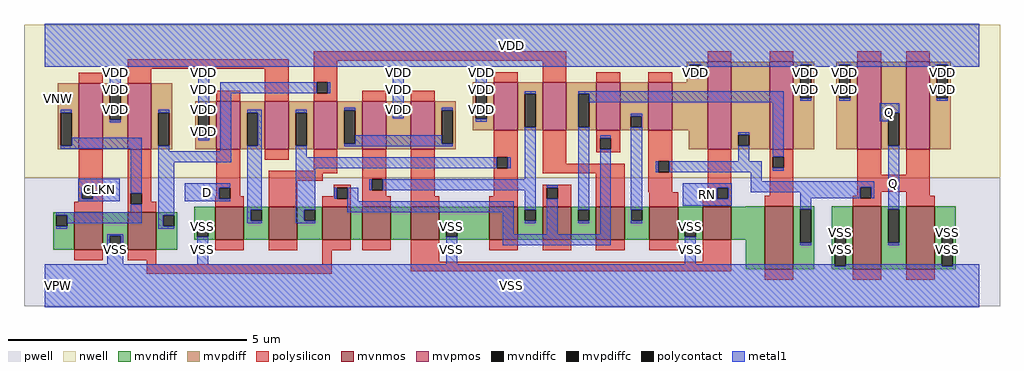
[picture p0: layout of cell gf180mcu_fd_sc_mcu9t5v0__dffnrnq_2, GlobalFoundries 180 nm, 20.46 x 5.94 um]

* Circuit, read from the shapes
.subckt gf180mcu_fd_sc_mcu9t5v0__dffnrnq_2 D RN CLKN Q VDD VNW VPW VSS
XM1 VSS CLKN n1 VPW nfet_06v0 w=0.79u l=0.6u
XM2 n2 n1 VSS VPW nfet_06v0 w=0.79u l=0.6u
XM3 n3 D VSS VPW nfet_06v0 w=0.7u l=0.6u
XM4 n4 n2 n3 VPW nfet_06v0 w=0.7u l=0.6u
XM5 n5 n1 n4 VPW nfet_06v0 w=0.7u l=0.6u
XM6 n6 n7 n5 VPW nfet_06v0 w=0.7u l=0.6u
XM7 VSS RN n6 VPW nfet_06v0 w=0.7u l=0.6u
XM8 n7 n4 VSS VPW nfet_06v0 w=0.7u l=0.6u
XM9 n8 n1 n7 VPW nfet_06v0 w=0.7u l=0.6u
XM10 n9 n2 n8 VPW nfet_06v0 w=0.7u l=0.6u
XM11 VSS n10 n9 VPW nfet_06v0 w=0.7u l=0.6u
XM12 n11 RN VSS VPW nfet_06v0 w=0.7u l=0.6u
XM13 n10 n8 n11 VPW nfet_06v0 w=1.32u l=0.6u
XM14 Q n10 VSS VPW nfet_06v0 w=1.32u l=0.6u m=2
XM15 VDD CLKN n1 VNW pfet_06v0 w=1.38u l=0.5u
XM16 n2 n1 VDD VNW pfet_06v0 w=1.38u l=0.5u
XM17 n3 D VDD VNW pfet_06v0 w=1u l=0.5u
XM18 n4 n1 n3 VNW pfet_06v0 w=1u l=0.5u
XM19 n12 n2 n4 VNW pfet_06v0 w=1u l=0.5u
XM20 VDD n7 n12 VNW pfet_06v0 w=1u l=0.5u
XM21 n12 RN VDD VNW pfet_06v0 w=1u l=0.5u
XM22 n7 n4 VDD VNW pfet_06v0 w=1u l=0.5u
XM23 n8 n2 n7 VNW pfet_06v0 w=1u l=0.5u
XM24 n9 n1 n8 VNW pfet_06v0 w=1u l=0.5u
XM25 VDD n10 n9 VNW pfet_06v0 w=1u l=0.5u
XM26 n10 RN VDD VNW pfet_06v0 w=1.83u l=0.5u
XM27 VDD n8 n10 VNW pfet_06v0 w=1.83u l=0.5u
XM28 Q n10 VDD VNW pfet_06v0 w=1.83u l=0.5u m=2
.ends

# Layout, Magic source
magic
tech gf180mcuD
magscale 1 10
<< nwell >>
rect -86 453 4006 1094
<< pwell >>
rect -86 -86 4006 453
<< mvnmos >>
rect 124 150 244 308
rect 348 150 468 308
rect 716 192 836 332
rect 940 192 1060 332
rect 1164 192 1284 332
rect 1332 192 1452 332
rect 1536 192 1656 332
rect 1864 192 1984 332
rect 2088 192 2208 332
rect 2312 192 2432 332
rect 2536 192 2656 332
rect 2760 192 2880 332
rect 3020 69 3140 333
rect 3388 69 3508 333
rect 3612 69 3732 333
<< mvpmos >>
rect 144 573 244 849
rect 348 573 448 849
rect 720 573 820 773
rect 924 573 1024 773
rect 1128 573 1228 773
rect 1332 573 1432 773
rect 1536 573 1636 773
rect 1884 652 1984 852
rect 2088 652 2188 852
rect 2313 652 2413 852
rect 2532 652 2632 852
rect 2780 573 2880 939
rect 3040 573 3140 939
rect 3408 573 3508 939
rect 3612 573 3712 939
<< mvndiff >>
rect 2940 332 3020 333
rect 36 295 124 308
rect 36 249 49 295
rect 95 249 124 295
rect 36 150 124 249
rect 244 209 348 308
rect 244 163 273 209
rect 319 163 348 209
rect 244 150 348 163
rect 468 295 556 308
rect 468 249 497 295
rect 543 249 556 295
rect 468 150 556 249
rect 628 251 716 332
rect 628 205 641 251
rect 687 205 716 251
rect 628 192 716 205
rect 836 319 940 332
rect 836 273 865 319
rect 911 273 940 319
rect 836 192 940 273
rect 1060 319 1164 332
rect 1060 273 1089 319
rect 1135 273 1164 319
rect 1060 192 1164 273
rect 1284 192 1332 332
rect 1452 192 1536 332
rect 1656 251 1864 332
rect 1656 205 1685 251
rect 1731 205 1864 251
rect 1656 192 1864 205
rect 1984 319 2088 332
rect 1984 273 2013 319
rect 2059 273 2088 319
rect 1984 192 2088 273
rect 2208 319 2312 332
rect 2208 273 2237 319
rect 2283 273 2312 319
rect 2208 192 2312 273
rect 2432 319 2536 332
rect 2432 273 2461 319
rect 2507 273 2536 319
rect 2432 192 2536 273
rect 2656 251 2760 332
rect 2656 205 2685 251
rect 2731 205 2760 251
rect 2656 192 2760 205
rect 2880 192 3020 332
rect 2940 69 3020 192
rect 3140 320 3228 333
rect 3140 180 3169 320
rect 3215 180 3228 320
rect 3140 69 3228 180
rect 3300 222 3388 333
rect 3300 82 3313 222
rect 3359 82 3388 222
rect 3300 69 3388 82
rect 3508 320 3612 333
rect 3508 180 3537 320
rect 3583 180 3612 320
rect 3508 69 3612 180
rect 3732 222 3820 333
rect 3732 82 3761 222
rect 3807 82 3820 222
rect 3732 69 3820 82
<< mvpdiff >>
rect 56 726 144 849
rect 56 586 69 726
rect 115 586 144 726
rect 56 573 144 586
rect 244 836 348 849
rect 244 696 273 836
rect 319 696 348 836
rect 244 573 348 696
rect 448 726 536 849
rect 2692 926 2780 939
rect 2692 880 2705 926
rect 2751 880 2780 926
rect 2692 852 2780 880
rect 1796 839 1884 852
rect 448 586 477 726
rect 523 586 536 726
rect 448 573 536 586
rect 632 760 720 773
rect 632 620 645 760
rect 691 620 720 760
rect 632 573 720 620
rect 820 726 924 773
rect 820 586 849 726
rect 895 586 924 726
rect 820 573 924 586
rect 1024 726 1128 773
rect 1024 586 1053 726
rect 1099 586 1128 726
rect 1024 573 1128 586
rect 1228 735 1332 773
rect 1228 595 1257 735
rect 1303 595 1332 735
rect 1228 573 1332 595
rect 1432 760 1536 773
rect 1432 714 1461 760
rect 1507 714 1536 760
rect 1432 573 1536 714
rect 1636 735 1724 773
rect 1636 595 1665 735
rect 1711 595 1724 735
rect 1796 699 1809 839
rect 1855 699 1884 839
rect 1796 652 1884 699
rect 1984 805 2088 852
rect 1984 665 2013 805
rect 2059 665 2088 805
rect 1984 652 2088 665
rect 2188 805 2313 852
rect 2188 665 2238 805
rect 2284 665 2313 805
rect 2188 652 2313 665
rect 2413 711 2532 852
rect 2413 665 2457 711
rect 2503 665 2532 711
rect 2413 652 2532 665
rect 2632 652 2780 852
rect 1636 573 1724 595
rect 2700 573 2780 652
rect 2880 632 3040 939
rect 2880 586 2909 632
rect 2955 586 3040 632
rect 2880 573 3040 586
rect 3140 926 3228 939
rect 3140 786 3169 926
rect 3215 786 3228 926
rect 3140 573 3228 786
rect 3320 926 3408 939
rect 3320 786 3333 926
rect 3379 786 3408 926
rect 3320 573 3408 786
rect 3508 726 3612 939
rect 3508 586 3537 726
rect 3583 586 3612 726
rect 3508 573 3612 586
rect 3712 926 3800 939
rect 3712 786 3741 926
rect 3787 786 3800 926
rect 3712 573 3800 786
<< mvndiffc >>
rect 49 249 95 295
rect 273 163 319 209
rect 497 249 543 295
rect 641 205 687 251
rect 865 273 911 319
rect 1089 273 1135 319
rect 1685 205 1731 251
rect 2013 273 2059 319
rect 2237 273 2283 319
rect 2461 273 2507 319
rect 2685 205 2731 251
rect 3169 180 3215 320
rect 3313 82 3359 222
rect 3537 180 3583 320
rect 3761 82 3807 222
<< mvpdiffc >>
rect 69 586 115 726
rect 273 696 319 836
rect 2705 880 2751 926
rect 477 586 523 726
rect 645 620 691 760
rect 849 586 895 726
rect 1053 586 1099 726
rect 1257 595 1303 735
rect 1461 714 1507 760
rect 1665 595 1711 735
rect 1809 699 1855 839
rect 2013 665 2059 805
rect 2238 665 2284 805
rect 2457 665 2503 711
rect 2909 586 2955 632
rect 3169 786 3215 926
rect 3333 786 3379 926
rect 3537 586 3583 726
rect 3741 786 3787 926
<< polysilicon >>
rect 348 909 1024 949
rect 144 849 244 893
rect 348 849 448 909
rect 720 773 820 817
rect 924 773 1024 909
rect 1129 944 2188 984
rect 1129 865 1228 944
rect 1128 852 1228 865
rect 1884 852 1984 896
rect 2088 852 2188 944
rect 2780 939 2880 983
rect 3040 939 3140 983
rect 3408 939 3508 983
rect 3612 939 3712 983
rect 2313 852 2413 896
rect 2532 852 2632 896
rect 1128 806 1141 852
rect 1187 806 1228 852
rect 1128 773 1228 806
rect 1332 773 1432 817
rect 1536 773 1636 817
rect 144 411 244 573
rect 144 365 157 411
rect 203 365 244 411
rect 144 352 244 365
rect 124 308 244 352
rect 348 387 448 573
rect 348 341 361 387
rect 407 352 448 387
rect 720 411 820 573
rect 924 529 1024 573
rect 1128 481 1228 573
rect 720 376 733 411
rect 716 365 733 376
rect 779 376 820 411
rect 940 472 1228 481
rect 940 441 1167 472
rect 1332 446 1432 573
rect 779 365 836 376
rect 407 341 468 352
rect 348 308 468 341
rect 716 332 836 365
rect 940 332 1060 441
rect 1212 411 1284 424
rect 1212 376 1225 411
rect 1164 365 1225 376
rect 1271 365 1284 411
rect 1164 332 1284 365
rect 1332 400 1373 446
rect 1419 400 1432 446
rect 1332 376 1432 400
rect 1536 376 1636 573
rect 1884 538 1984 652
rect 1884 492 1897 538
rect 1943 492 1984 538
rect 1884 376 1984 492
rect 2088 512 2188 652
rect 2313 619 2413 652
rect 2313 573 2329 619
rect 2375 573 2413 619
rect 2313 560 2413 573
rect 2532 522 2632 652
rect 2088 472 2432 512
rect 1332 332 1452 376
rect 1536 332 1656 376
rect 1864 332 1984 376
rect 2088 411 2208 424
rect 2088 365 2105 411
rect 2151 365 2208 411
rect 2088 332 2208 365
rect 2312 332 2432 472
rect 2532 476 2573 522
rect 2619 476 2632 522
rect 2532 392 2632 476
rect 2780 411 2880 573
rect 2536 332 2656 392
rect 2780 376 2821 411
rect 2760 365 2821 376
rect 2867 365 2880 411
rect 3040 540 3140 573
rect 3040 494 3053 540
rect 3099 494 3140 540
rect 3040 377 3140 494
rect 3408 465 3508 573
rect 3612 465 3712 573
rect 3408 412 3712 465
rect 3408 377 3421 412
rect 2760 332 2880 365
rect 3020 333 3140 377
rect 3388 366 3421 377
rect 3467 393 3712 412
rect 3467 366 3508 393
rect 3388 333 3508 366
rect 3612 377 3712 393
rect 3612 333 3732 377
rect 124 106 244 150
rect 348 106 468 150
rect 716 148 836 192
rect 940 148 1060 192
rect 1164 148 1284 192
rect 1332 148 1452 192
rect 428 90 468 106
rect 1164 90 1204 148
rect 428 50 1204 90
rect 1536 100 1656 192
rect 1864 148 1984 192
rect 2088 148 2208 192
rect 2312 148 2432 192
rect 2536 148 2656 192
rect 2760 100 2880 192
rect 1536 60 2880 100
rect 3020 25 3140 69
rect 3388 25 3508 69
rect 3612 25 3732 69
<< polycontact >>
rect 1141 806 1187 852
rect 157 365 203 411
rect 361 341 407 387
rect 733 365 779 411
rect 1225 365 1271 411
rect 1373 400 1419 446
rect 1897 492 1943 538
rect 2329 573 2375 619
rect 2105 365 2151 411
rect 2573 476 2619 522
rect 2821 365 2867 411
rect 3053 494 3099 540
rect 3421 366 3467 412
<< metal1 >>
rect 0 926 3920 1098
rect 0 918 2705 926
rect 273 836 319 918
rect 69 726 115 737
rect 645 760 691 918
rect 273 685 319 696
rect 477 726 523 737
rect 115 586 407 621
rect 69 575 407 586
rect 142 411 315 449
rect 142 365 157 411
rect 203 365 315 411
rect 142 354 315 365
rect 361 387 407 575
rect 361 308 407 341
rect 49 295 407 308
rect 95 262 407 295
rect 645 609 691 620
rect 737 806 1141 852
rect 1187 806 1198 852
rect 477 563 523 586
rect 737 563 783 806
rect 1461 760 1507 918
rect 477 517 783 563
rect 849 726 911 737
rect 895 586 911 726
rect 477 295 543 517
rect 589 411 779 430
rect 589 365 733 411
rect 589 354 779 365
rect 49 238 95 249
rect 477 249 497 295
rect 849 319 911 586
rect 849 273 865 319
rect 849 262 911 273
rect 1053 726 1099 737
rect 1053 538 1099 586
rect 1257 735 1303 746
rect 1809 839 1855 918
rect 2751 918 3169 926
rect 2705 869 2751 880
rect 1461 703 1507 714
rect 1665 735 1711 746
rect 1303 595 1665 630
rect 1809 688 1855 699
rect 2013 805 2059 816
rect 1257 584 1711 595
rect 1053 492 1897 538
rect 1943 492 1954 538
rect 1053 319 1135 492
rect 2013 446 2059 665
rect 1214 365 1225 411
rect 1271 365 1316 411
rect 1362 400 1373 446
rect 1419 400 2059 446
rect 2237 805 3099 816
rect 2237 665 2238 805
rect 2284 770 3099 805
rect 3215 918 3333 926
rect 3169 775 3215 786
rect 3379 918 3741 926
rect 3333 775 3379 786
rect 3787 918 3920 926
rect 3741 775 3787 786
rect 2237 654 2284 665
rect 2457 711 2507 722
rect 2503 665 2507 711
rect 1053 273 1089 319
rect 1270 354 1316 365
rect 1270 308 1967 354
rect 1053 262 1135 273
rect 477 238 543 249
rect 641 251 687 262
rect 262 209 330 216
rect 262 163 273 209
rect 319 163 330 209
rect 262 90 330 163
rect 641 90 687 205
rect 1685 251 1731 262
rect 1685 90 1731 205
rect 1921 216 1967 308
rect 2013 319 2059 400
rect 2013 262 2059 273
rect 2105 411 2151 422
rect 2105 216 2151 365
rect 2237 319 2283 654
rect 2237 262 2283 273
rect 2329 619 2375 630
rect 2329 216 2375 573
rect 2457 319 2507 665
rect 2909 632 2955 643
rect 2909 522 2955 586
rect 3053 540 3099 770
rect 3502 726 3583 766
rect 3502 690 3537 726
rect 2562 476 2573 522
rect 2619 476 3007 522
rect 3053 483 3099 494
rect 2961 437 3007 476
rect 2676 411 2882 430
rect 2676 365 2821 411
rect 2867 365 2882 411
rect 2961 412 3478 437
rect 2961 391 3421 412
rect 2676 335 2882 365
rect 3169 366 3421 391
rect 3467 366 3478 412
rect 2457 273 2461 319
rect 2457 262 2507 273
rect 3169 320 3215 366
rect 1921 170 2375 216
rect 2685 251 2731 262
rect 2685 90 2731 205
rect 3537 320 3583 586
rect 3169 169 3215 180
rect 3313 222 3359 233
rect 0 82 3313 90
rect 3537 169 3583 180
rect 3761 222 3807 233
rect 3359 82 3761 90
rect 3807 82 3920 90
rect 0 -90 3920 82
<< labels >>
flabel metal1 s 142 354 315 449 0 FreeSans 200 0 0 0 CLKN
port 3 nsew clock input
flabel metal1 s 589 354 779 430 0 FreeSans 200 0 0 0 D
port 1 nsew default input
flabel metal1 s 3502 690 3583 766 0 FreeSans 200 0 0 0 Q
port 4 nsew default output
flabel metal1 s 2676 335 2882 430 0 FreeSans 200 0 0 0 RN
port 2 nsew default input
flabel metal1 s 0 918 3920 1098 0 FreeSans 200 0 0 0 VDD
port 5 nsew power bidirectional abutment
flabel metal1 s 2685 233 2731 262 0 FreeSans 200 0 0 0 VSS
port 8 nsew ground bidirectional abutment
flabel nwell s 10 734 110 834 0 FreeSans 400 0 0 0 VNW
port 6 nsew power bidirectional
flabel pwell s 10 -50 110 50 0 FreeSans 400 0 0 0 VPW
port 7 nsew ground bidirectional
rlabel metal1 s 3537 169 3583 690 1 Q
port 4 nsew default output
rlabel metal1 s 3741 869 3787 918 1 VDD
port 5 nsew power bidirectional abutment
rlabel metal1 s 3333 869 3379 918 1 VDD
port 5 nsew power bidirectional abutment
rlabel metal1 s 3169 869 3215 918 1 VDD
port 5 nsew power bidirectional abutment
rlabel metal1 s 2705 869 2751 918 1 VDD
port 5 nsew power bidirectional abutment
rlabel metal1 s 1809 869 1855 918 1 VDD
port 5 nsew power bidirectional abutment
rlabel metal1 s 1461 869 1507 918 1 VDD
port 5 nsew power bidirectional abutment
rlabel metal1 s 645 869 691 918 1 VDD
port 5 nsew power bidirectional abutment
rlabel metal1 s 273 869 319 918 1 VDD
port 5 nsew power bidirectional abutment
rlabel metal1 s 3741 775 3787 869 1 VDD
port 5 nsew power bidirectional abutment
rlabel metal1 s 3333 775 3379 869 1 VDD
port 5 nsew power bidirectional abutment
rlabel metal1 s 3169 775 3215 869 1 VDD
port 5 nsew power bidirectional abutment
rlabel metal1 s 1809 775 1855 869 1 VDD
port 5 nsew power bidirectional abutment
rlabel metal1 s 1461 775 1507 869 1 VDD
port 5 nsew power bidirectional abutment
rlabel metal1 s 645 775 691 869 1 VDD
port 5 nsew power bidirectional abutment
rlabel metal1 s 273 775 319 869 1 VDD
port 5 nsew power bidirectional abutment
rlabel metal1 s 1809 703 1855 775 1 VDD
port 5 nsew power bidirectional abutment
rlabel metal1 s 1461 703 1507 775 1 VDD
port 5 nsew power bidirectional abutment
rlabel metal1 s 645 703 691 775 1 VDD
port 5 nsew power bidirectional abutment
rlabel metal1 s 273 703 319 775 1 VDD
port 5 nsew power bidirectional abutment
rlabel metal1 s 1809 688 1855 703 1 VDD
port 5 nsew power bidirectional abutment
rlabel metal1 s 645 688 691 703 1 VDD
port 5 nsew power bidirectional abutment
rlabel metal1 s 273 688 319 703 1 VDD
port 5 nsew power bidirectional abutment
rlabel metal1 s 645 685 691 688 1 VDD
port 5 nsew power bidirectional abutment
rlabel metal1 s 273 685 319 688 1 VDD
port 5 nsew power bidirectional abutment
rlabel metal1 s 645 609 691 685 1 VDD
port 5 nsew power bidirectional abutment
rlabel metal1 s 1685 233 1731 262 1 VSS
port 8 nsew ground bidirectional abutment
rlabel metal1 s 641 233 687 262 1 VSS
port 8 nsew ground bidirectional abutment
rlabel metal1 s 3761 216 3807 233 1 VSS
port 8 nsew ground bidirectional abutment
rlabel metal1 s 3313 216 3359 233 1 VSS
port 8 nsew ground bidirectional abutment
rlabel metal1 s 2685 216 2731 233 1 VSS
port 8 nsew ground bidirectional abutment
rlabel metal1 s 1685 216 1731 233 1 VSS
port 8 nsew ground bidirectional abutment
rlabel metal1 s 641 216 687 233 1 VSS
port 8 nsew ground bidirectional abutment
rlabel metal1 s 3761 90 3807 216 1 VSS
port 8 nsew ground bidirectional abutment
rlabel metal1 s 3313 90 3359 216 1 VSS
port 8 nsew ground bidirectional abutment
rlabel metal1 s 2685 90 2731 216 1 VSS
port 8 nsew ground bidirectional abutment
rlabel metal1 s 1685 90 1731 216 1 VSS
port 8 nsew ground bidirectional abutment
rlabel metal1 s 641 90 687 216 1 VSS
port 8 nsew ground bidirectional abutment
rlabel metal1 s 262 90 330 216 1 VSS
port 8 nsew ground bidirectional abutment
rlabel metal1 s 0 -90 3920 90 1 VSS
port 8 nsew ground bidirectional abutment
<< properties >>
string FIXED_BBOX 0 0 3920 1008
string GDS_END 1528196
string GDS_FILE $PDKPATH/libs.ref/gf180mcu_fd_sc_mcu9t5v0/gds/gf180mcu_fd_sc_mcu9t5v0.gds
string GDS_START 1518896
string LEFclass core
string LEFsite GF018hv5v_green_sc9
string LEFsymmetry X Y
<< end >>
